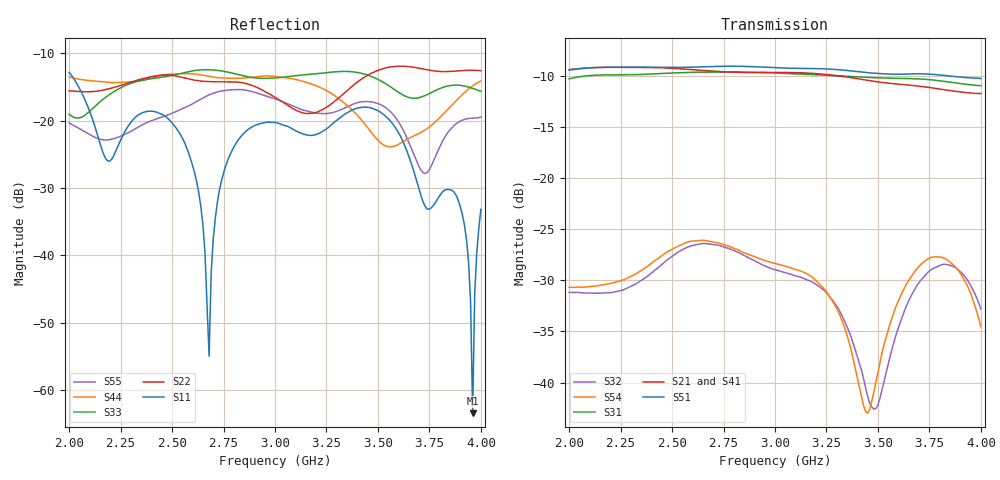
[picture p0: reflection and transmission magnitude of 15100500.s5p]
! Created with skrf 1.8.0 (http://scikit-rf.org).
# Hz S RI R 50.0
!freq ReS11 ImS11 ReS12 ImS12 ReS13 ImS13
! ReS14 ImS14 ReS15 ImS15
! ReS21 ImS21 ReS22 ImS22 ReS23 ImS23
! ReS24 ImS24 ReS25 ImS25
! ReS31 ImS31 ReS32 ImS32 ReS33 ImS33
! ReS34 ImS34 ReS35 ImS35
! ReS41 ImS41 ReS42 ImS42 ReS43 ImS43
! ReS44 ImS44 ReS45 ImS45
! ReS51 ImS51 ReS52 ImS52 ReS53 ImS53
! ReS54 ImS54 ReS55 ImS55
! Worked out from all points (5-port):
!   201 points, 2 GHz to 4 GHz, reference 50 ohm
!   strongest paths, dB at 2 GHz, 2.5 GHz, 3 GHz, 3.5 GHz, 4 GHz:
!     S51: -9.4, -9.2, -9.2, -9.7, -10.2
!     S21: -9.4, -9.2, -9.6, -10.6, -11.7
!     S31: -10.3, -9.7, -9.7, -10.2, -10.9
!     S41: -9.2, -9.2, -10.0, -10.4, -11.5
!     S54: -30.7, -27.0, -28.3, -39.0, -34.6
!     S32: -31.2, -27.6, -29.0, -42.2, -32.8
!   lowest |S11| = -63.5 dB at 3.96 GHz (marker M1), VSWR 1.00, Z = 50.1 + j0.00486 ohm
!   |S11| at or under -10 dB: start of sweep to end of sweep
